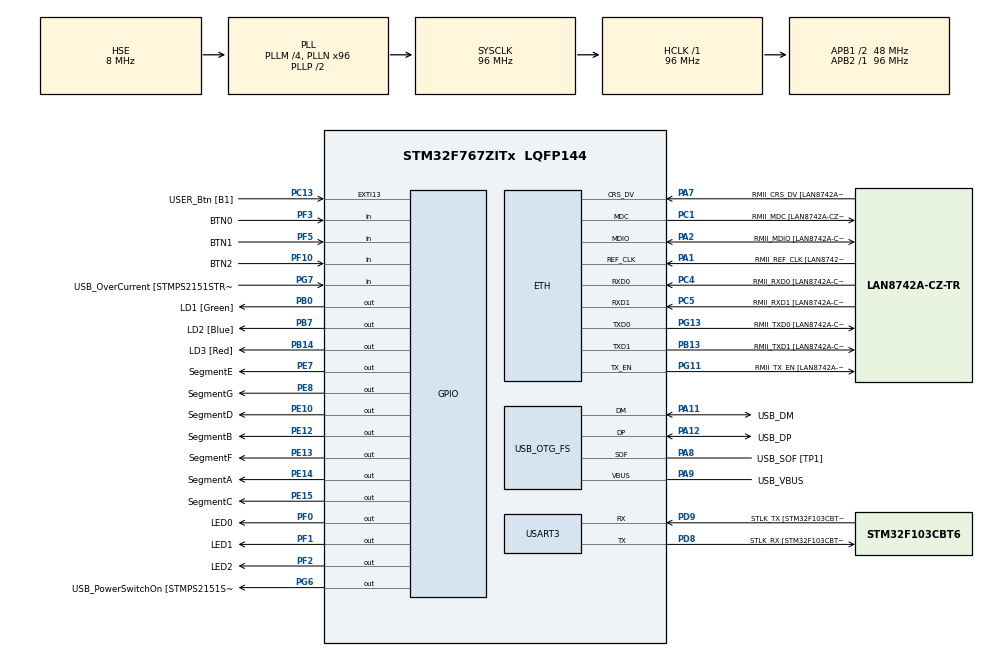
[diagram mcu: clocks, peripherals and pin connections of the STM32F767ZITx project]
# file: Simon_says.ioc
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ETH.MediaInterface=HAL_ETH_RMII_MODE
ETH.PHY_Name=LAN8742A_PHY_ADDRESS
ETH.PHY_Value=0
ETH.PhyAddress=0
Mcu.Family=STM32F7
Mcu.Name=STM32F767ZITx
Mcu.Package=LQFP144
NVIC.PriorityGroup=NVIC_PRIORITYGROUP_4
PA1.GPIO_Label=RMII_REF_CLK [LAN8742A-CZ-TR_REFCLK0]
PA1.Mode=RMII
PA1.Signal=ETH_REF_CLK
PA10.GPIO_Label=USB_ID
PA10.Signal=USB_OTG_FS_ID
PA11.GPIO_Label=USB_DM
PA11.Mode=Device_Only
PA11.Signal=USB_OTG_FS_DM
PA12.GPIO_Label=USB_DP
PA12.Mode=Device_Only
PA12.Signal=USB_OTG_FS_DP
PA13.GPIO_Label=TMS
PA13.Mode=Serial_Wire
PA13.Signal=SYS_JTMS-SWDIO
PA14.GPIO_Label=TCK
PA14.Mode=Serial_Wire
PA14.Signal=SYS_JTCK-SWCLK
PA2.GPIO_Label=RMII_MDIO [LAN8742A-CZ-TR_MDIO]
PA2.Mode=RMII
PA2.Signal=ETH_MDIO
PA7.GPIO_Label=RMII_CRS_DV [LAN8742A-CZ-TR_CRS_DV]
PA7.Mode=RMII
PA7.Signal=ETH_CRS_DV
PA8.GPIO_Label=USB_SOF [TP1]
PA8.Mode=Activate_SOF_FS
PA8.Signal=USB_OTG_FS_SOF
PA9.GPIO_Label=USB_VBUS
PA9.Mode=Activate_VBUS
PA9.Signal=USB_OTG_FS_VBUS
PB0.GPIO_Label=LD1 [Green]
PB0.Signal=GPIO_Output
PB13.GPIO_Label=RMII_TXD1 [LAN8742A-CZ-TR_TXD1]
PB13.Mode=RMII
PB13.Signal=ETH_TXD1
PB14.GPIO_Label=LD3 [Red]
PB14.Signal=GPIO_Output
PB3.GPIO_Label=SWO
PB3.Signal=SYS_JTDO-SWO
PB7.GPIO_Label=LD2 [Blue]
PB7.Signal=GPIO_Output
PC1.GPIO_Label=RMII_MDC [LAN8742A-CZ-TR_MDC]
PC1.Mode=RMII
PC1.Signal=ETH_MDC
PC13.GPIO_Label=USER_Btn [B1]
PC13.Signal=GPXTI13
PC14/OSC32_IN.Mode=LSE-External-Oscillator
PC14/OSC32_IN.Signal=RCC_OSC32_IN
PC15/OSC32_OUT.Mode=LSE-External-Oscillator
PC15/OSC32_OUT.Signal=RCC_OSC32_OUT
PC4.GPIO_Label=RMII_RXD0 [LAN8742A-CZ-TR_RXD0]
PC4.Mode=RMII
PC4.Signal=ETH_RXD0
PC5.GPIO_Label=RMII_RXD1 [LAN8742A-CZ-TR_RXD1]
PC5.Mode=RMII
PC5.Signal=ETH_RXD1
PD8.GPIO_Label=STLK_RX [STM32F103CBT6_PA3]
PD8.Mode=Asynchronous
PD8.Signal=USART3_TX
PD9.GPIO_Label=STLK_TX [STM32F103CBT6_PA2]
PD9.Mode=Asynchronous
PD9.Signal=USART3_RX
PE10.GPIO_Label=SegmentD
PE10.Signal=GPIO_Output
PE12.GPIO_Label=SegmentB
PE12.Signal=GPIO_Output
PE13.GPIO_Label=SegmentF
PE13.Signal=GPIO_Output
PE14.GPIO_Label=SegmentA
PE14.Signal=GPIO_Output
PE15.GPIO_Label=SegmentC
PE15.Signal=GPIO_Output
PE7.GPIO_Label=SegmentE
PE7.Signal=GPIO_Output
PE8.GPIO_Label=SegmentG
PE8.Signal=GPIO_Output
PF0.GPIO_Label=LED0
PF0.Signal=GPIO_Output
PF1.GPIO_Label=LED1
PF1.Signal=GPIO_Output
PF10.GPIO_Label=BTN2
PF10.GPIO_PuPd=GPIO_PULLDOWN
PF10.Signal=GPIO_Input
PF2.GPIO_Label=LED2
PF2.Signal=GPIO_Output
PF3.GPIO_Label=BTN0
PF3.GPIO_PuPd=GPIO_PULLDOWN
PF3.Signal=GPIO_Input
PF5.GPIO_Label=BTN1
PF5.GPIO_PuPd=GPIO_PULLDOWN
PF5.Signal=GPIO_Input
PG11.GPIO_Label=RMII_TX_EN [LAN8742A-CZ-TR_TXEN]
PG11.Mode=RMII
PG11.Signal=ETH_TX_EN
PG13.GPIO_Label=RMII_TXD0 [LAN8742A-CZ-TR_TXD0]
PG13.Mode=RMII
PG13.Signal=ETH_TXD0
PG6.GPIO_Label=USB_PowerSwitchOn [STMPS2151STR_EN]
PG6.Signal=GPIO_Output
PG7.GPIO_Label=USB_OverCurrent [STMPS2151STR_FAULT]
PG7.Signal=GPIO_Input
PH0/OSC_IN.GPIO_Label=MCO [STM32F103CBT6_PA8]
PH0/OSC_IN.Mode=HSE-External-Clock-Source
PH0/OSC_IN.Signal=RCC_OSC_IN
PH1/OSC_OUT.Mode=HSE-External-Clock-Source
PH1/OSC_OUT.Signal=RCC_OSC_OUT
ProjectManager.HeapSize=0x200
ProjectManager.StackSize=0x400
ProjectManager.TargetToolchain=STM32CubeIDE
RCC.48MHZClocksFreq_Value=24000000
RCC.AHBFreq_Value=96000000
RCC.APB1CLKDivider=RCC_HCLK_DIV2
RCC.APB1Freq_Value=48000000
RCC.APB1TimFreq_Value=96000000
RCC.APB2Freq_Value=96000000
RCC.APB2TimFreq_Value=96000000
RCC.CortexFreq_Value=96000000
RCC.HCLKFreq_Value=96000000
RCC.HSE_VALUE=8000000
RCC.HSI_VALUE=16000000
RCC.PLLM=4
RCC.PLLMUL=RCC_PLL_MUL9
RCC.PLLN=96
RCC.PLLQ=4
RCC.PRESCALERUSB=RCC_USBCLKSOURCE_PLL_DIV1_5
RCC.SYSCLKFreq_VALUE=96000000
RCC.SYSCLKSource=RCC_SYSCLKSOURCE_PLLCLK
RCC.SYSCLKSourceVirtual=RCC_SYSCLKSOURCE_PLLCLK
RCC.USBFreq_Value=48000000
RCC.VCOOutputFreq_Value=192000000
USART3.VirtualMode-Asynchronous=VM_ASYNC
USB_OTG_FS.VirtualMode=Device_Only
board=NUCLEO-F767ZI

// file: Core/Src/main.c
/* USER CODE BEGIN Header */
/**
 ******************************************************************************
 * @file           : main.c
 * @brief          : Main program body
 ******************************************************************************
 * @attention
 *
 * Copyright (c) 2023 STMicroelectronics.
 * All rights reserved.
 *
 * This software is licensed under terms that can be found in the LICENSE file
 * in the root directory of this software component.
 * If no LICENSE file comes with this software, it is provided AS-IS.
 *
 ******************************************************************************
 */
/* USER CODE END Header */
#include "main.h"
#include "string.h"
#include "simon_says.h"
#include "LED_Feedback.h"
#include "game_control.h"
#include "generate_random_numbers.h"
#include "seven_segment_display.h"

#if defined ( __ICCARM__ ) /*!< IAR Compiler */
#pragma location=0x2007c000
ETH_DMADescTypeDef  DMARxDscrTab[ETH_RX_DESC_CNT]; /* Ethernet Rx DMA Descriptors */
#pragma location=0x2007c0a0
ETH_DMADescTypeDef  DMATxDscrTab[ETH_TX_DESC_CNT]; /* Ethernet Tx DMA Descriptors */

#elif defined ( __CC_ARM )  /* MDK ARM Compiler */

__attribute__((at(0x2007c000))) ETH_DMADescTypeDef  DMARxDscrTab[ETH_RX_DESC_CNT]; /* Ethernet Rx DMA Descriptors */
__attribute__((at(0x2007c0a0))) ETH_DMADescTypeDef  DMATxDscrTab[ETH_TX_DESC_CNT]; /* Ethernet Tx DMA Descriptors */

#elif defined ( __GNUC__ ) /* GNU Compiler */
ETH_DMADescTypeDef DMARxDscrTab[ETH_RX_DESC_CNT] __attribute__((section(".RxDecripSection"))); /* Ethernet Rx DMA Descriptors */
ETH_DMADescTypeDef DMATxDscrTab[ETH_TX_DESC_CNT] __attribute__((section(".TxDecripSection"))); /* Ethernet Tx DMA Descriptors */

#endif

ETH_TxPacketConfig TxConfig;

ETH_HandleTypeDef heth;

UART_HandleTypeDef huart3;

PCD_HandleTypeDef hpcd_USB_OTG_FS;

void SystemClock_Config(void);
static void MX_GPIO_Init(void);
static void MX_ETH_Init(void);
static void MX_USART3_UART_Init(void);
static void MX_USB_OTG_FS_PCD_Init(void);

int main(void)
{

	/* MCU Configuration--------------------------------------------------------*/

	/* Reset of all peripherals, Initializes the Flash interface and the Systick. */
	HAL_Init();

	/* Configure the system clock */
	SystemClock_Config();

	/* Initialize all configured peripherals */
	MX_GPIO_Init();
	MX_ETH_Init();
	MX_USART3_UART_Init();
	MX_USB_OTG_FS_PCD_Init();
	/* USER CODE BEGIN 2 */

	sLED_t psLED[] = {
		{ .LED_Port = LED0_GPIO_Port, .u16LED_PIN = LED0_Pin },
		{ .LED_Port = LED1_GPIO_Port, .u16LED_PIN = LED1_Pin },
		{ .LED_Port = LED2_GPIO_Port, .u16LED_PIN = LED2_Pin },
	};

	sButton_t psButtons[] = {
		{ .BTN_Port = BTN0_GPIO_Port, .u16BTN_PIN = BTN0_Pin, .debounce = 0 },
		{ .BTN_Port = BTN1_GPIO_Port, .u16BTN_PIN = BTN1_Pin, .debounce = 0 },
		{ .BTN_Port = BTN2_GPIO_Port, .u16BTN_PIN = BTN2_Pin, .debounce = 0 },
	};

	sGameData_t sGame;
	vSimonSays_Init(&sGame);

	uint8_t u8UserInput;
	uint8_t u8UserInputCount;

	/* USER CODE END 2 */

	/* Infinite loop */
	/* USER CODE BEGIN WHILE */
	while (1)
	{
		//If game over or already victory then restart game
		if (sGame.eCurrentState != INGAME)
		{
			vSimonSays_Init(&sGame);
			//Signal start
			s8Segment_SetDisplay(sGame.u8Round);
		}

		HAL_Delay(800);
		//Show round
		sGame.u8Round++;
		s8Segment_SetDisplay(sGame.u8Round);

		//Generate and show Sequence
		sGame.u8RandomNumbers[sGame.u8Round - 1] = u8GenerateRandomNumber();
		vLEDFeedback_ShowGeneratedNumbers(psLED, sGame.u8RandomNumbers, sGame.u8Round);

		//Read UserInput an compare Sequence with UserInput
		u8UserInputCount = 0;
		do
		{
			u8UserInput = u8GameControl_GetUserInput(psButtons, &vLEDFeedback_ShowLED);

			if (u8UserInput != sGame.u8RandomNumbers[u8UserInputCount])
			{
				sGame.eCurrentState = GAME_OVER;
				vLEDFeedback_ShowGameOver();
				break;
			}

			u8UserInputCount++;

		} while (u8UserInputCount < sGame.u8Round);

		if (u8UserInputCount == MAX_ROUNDS && sGame.eCurrentState != GAME_OVER)
		{
			sGame.eCurrentState = GAME_WON;
			vLEDFeedback_ShowVictory();
		}

		/* USER CODE END WHILE */

	}
}

void SystemClock_Config(void)
{
	RCC_OscInitTypeDef RCC_OscInitStruct =
	{ 0 };
	RCC_ClkInitTypeDef RCC_ClkInitStruct =
	{ 0 };

	/** Configure LSE Drive Capability
	 */
	HAL_PWR_EnableBkUpAccess();

	/** Configure the main internal regulator output voltage
	 */
	__HAL_RCC_PWR_CLK_ENABLE();
	__HAL_PWR_VOLTAGESCALING_CONFIG(PWR_REGULATOR_VOLTAGE_SCALE3);

	/** Initializes the RCC Oscillators according to the specified parameters
	 * in the RCC_OscInitTypeDef structure.
	 */
	RCC_OscInitStruct.OscillatorType = RCC_OSCILLATORTYPE_HSE;
	RCC_OscInitStruct.HSEState = RCC_HSE_BYPASS;
	RCC_OscInitStruct.PLL.PLLState = RCC_PLL_ON;
	RCC_OscInitStruct.PLL.PLLSource = RCC_PLLSOURCE_HSE;
	RCC_OscInitStruct.PLL.PLLM = 4;
	RCC_OscInitStruct.PLL.PLLN = 96;
	RCC_OscInitStruct.PLL.PLLP = RCC_PLLP_DIV2;
	RCC_OscInitStruct.PLL.PLLQ = 4;
	RCC_OscInitStruct.PLL.PLLR = 2;
	if (HAL_RCC_OscConfig(&RCC_OscInitStruct) != HAL_OK)
	{
		Error_Handler();
	}

	/** Activate the Over-Drive mode
	 */
	if (HAL_PWREx_EnableOverDrive() != HAL_OK)
	{
		Error_Handler();
	}

	/** Initializes the CPU, AHB and APB buses clocks
	 */
	RCC_ClkInitStruct.ClockType = RCC_CLOCKTYPE_HCLK | RCC_CLOCKTYPE_SYSCLK
			| RCC_CLOCKTYPE_PCLK1 | RCC_CLOCKTYPE_PCLK2;
	RCC_ClkInitStruct.SYSCLKSource = RCC_SYSCLKSOURCE_PLLCLK;
	RCC_ClkInitStruct.AHBCLKDivider = RCC_SYSCLK_DIV1;
	RCC_ClkInitStruct.APB1CLKDivider = RCC_HCLK_DIV2;
	RCC_ClkInitStruct.APB2CLKDivider = RCC_HCLK_DIV1;

	if (HAL_RCC_ClockConfig(&RCC_ClkInitStruct, FLASH_LATENCY_3) != HAL_OK)
	{
		Error_Handler();
	}
}

static void MX_ETH_Init(void)
{

	static uint8_t MACAddr[6];

	heth.Instance = ETH;
	MACAddr[0] = 0x00;
	MACAddr[1] = 0x80;
	MACAddr[2] = 0xE1;
	MACAddr[3] = 0x00;
	MACAddr[4] = 0x00;
	MACAddr[5] = 0x00;
	heth.Init.MACAddr = &MACAddr[0];
	heth.Init.MediaInterface = HAL_ETH_RMII_MODE;
	heth.Init.TxDesc = DMATxDscrTab;
	heth.Init.RxDesc = DMARxDscrTab;
	heth.Init.RxBuffLen = 1524;

	if (HAL_ETH_Init(&heth) != HAL_OK)
	{
		Error_Handler();
	}

	memset(&TxConfig, 0, sizeof(ETH_TxPacketConfig));
	TxConfig.Attributes = ETH_TX_PACKETS_FEATURES_CSUM
			| ETH_TX_PACKETS_FEATURES_CRCPAD;
	TxConfig.ChecksumCtrl = ETH_CHECKSUM_IPHDR_PAYLOAD_INSERT_PHDR_CALC;
	TxConfig.CRCPadCtrl = ETH_CRC_PAD_INSERT;

}

static void MX_USART3_UART_Init(void)
{

	huart3.Instance = USART3;
	huart3.Init.BaudRate = 115200;
	huart3.Init.WordLength = UART_WORDLENGTH_8B;
	huart3.Init.StopBits = UART_STOPBITS_1;
	huart3.Init.Parity = UART_PARITY_NONE;
	huart3.Init.Mode = UART_MODE_TX_RX;
	huart3.Init.HwFlowCtl = UART_HWCONTROL_NONE;
	huart3.Init.OverSampling = UART_OVERSAMPLING_16;
	huart3.Init.OneBitSampling = UART_ONE_BIT_SAMPLE_DISABLE;
	huart3.AdvancedInit.AdvFeatureInit = UART_ADVFEATURE_NO_INIT;
	if (HAL_UART_Init(&huart3) != HAL_OK)
	{
		Error_Handler();
	}

}

static void MX_USB_OTG_FS_PCD_Init(void)
{

	hpcd_USB_OTG_FS.Instance = USB_OTG_FS;
	hpcd_USB_OTG_FS.Init.dev_endpoints = 6;
	hpcd_USB_OTG_FS.Init.speed = PCD_SPEED_FULL;
	hpcd_USB_OTG_FS.Init.dma_enable = DISABLE;
	hpcd_USB_OTG_FS.Init.phy_itface = PCD_PHY_EMBEDDED;
	hpcd_USB_OTG_FS.Init.Sof_enable = ENABLE;
	hpcd_USB_OTG_FS.Init.low_power_enable = DISABLE;
	hpcd_USB_OTG_FS.Init.lpm_enable = DISABLE;
	hpcd_USB_OTG_FS.Init.vbus_sensing_enable = ENABLE;
	hpcd_USB_OTG_FS.Init.use_dedicated_ep1 = DISABLE;
	if (HAL_PCD_Init(&hpcd_USB_OTG_FS) != HAL_OK)
	{
		Error_Handler();
	}

}

static void MX_GPIO_Init(void)
{
	GPIO_InitTypeDef GPIO_InitStruct =
	{ 0 };

	/* GPIO Ports Clock Enable */
	__HAL_RCC_GPIOC_CLK_ENABLE();
	__HAL_RCC_GPIOF_CLK_ENABLE();
	__HAL_RCC_GPIOH_CLK_ENABLE();
	__HAL_RCC_GPIOA_CLK_ENABLE();
	__HAL_RCC_GPIOB_CLK_ENABLE();
	__HAL_RCC_GPIOE_CLK_ENABLE();
	__HAL_RCC_GPIOD_CLK_ENABLE();
	__HAL_RCC_GPIOG_CLK_ENABLE();

	/*Configure GPIO pin Output Level */
	HAL_GPIO_WritePin(GPIOF, LED0_Pin | LED1_Pin | LED2_Pin, GPIO_PIN_RESET);

	/*Configure GPIO pin Output Level */
	HAL_GPIO_WritePin(GPIOB, LD1_Pin | LD3_Pin | LD2_Pin, GPIO_PIN_RESET);

	/*Configure GPIO pin Output Level */
	HAL_GPIO_WritePin(GPIOE,
			SegmentE_Pin | SegmentG_Pin | SegmentD_Pin | SegmentB_Pin
					| SegmentF_Pin | SegmentA_Pin | SegmentC_Pin,
			GPIO_PIN_RESET);

	/*Configure GPIO pin Output Level */
	HAL_GPIO_WritePin(USB_PowerSwitchOn_GPIO_Port, USB_PowerSwitchOn_Pin,
			GPIO_PIN_RESET);

	/*Configure GPIO pin : USER_Btn_Pin */
	GPIO_InitStruct.Pin = USER_Btn_Pin;
	GPIO_InitStruct.Mode = GPIO_MODE_IT_RISING;
	GPIO_InitStruct.Pull = GPIO_NOPULL;
	HAL_GPIO_Init(USER_Btn_GPIO_Port, &GPIO_InitStruct);

	/*Configure GPIO pins : LED0_Pin LED1_Pin LED2_Pin */
	GPIO_InitStruct.Pin = LED0_Pin | LED1_Pin | LED2_Pin;
	GPIO_InitStruct.Mode = GPIO_MODE_OUTPUT_PP;
	GPIO_InitStruct.Pull = GPIO_NOPULL;
	GPIO_InitStruct.Speed = GPIO_SPEED_FREQ_LOW;
	HAL_GPIO_Init(GPIOF, &GPIO_InitStruct);

	/*Configure GPIO pins : BTN0_Pin BTN1_Pin BTN2_Pin */
	GPIO_InitStruct.Pin = BTN0_Pin | BTN1_Pin | BTN2_Pin;
	GPIO_InitStruct.Mode = GPIO_MODE_INPUT;
	GPIO_InitStruct.Pull = GPIO_PULLDOWN;
	HAL_GPIO_Init(GPIOF, &GPIO_InitStruct);

	/*Configure GPIO pins : LD1_Pin LD3_Pin LD2_Pin */
	GPIO_InitStruct.Pin = LD1_Pin | LD3_Pin | LD2_Pin;
	GPIO_InitStruct.Mode = GPIO_MODE_OUTPUT_PP;
	GPIO_InitStruct.Pull = GPIO_NOPULL;
	GPIO_InitStruct.Speed = GPIO_SPEED_FREQ_LOW;
	HAL_GPIO_Init(GPIOB, &GPIO_InitStruct);

	/*Configure GPIO pins : SegmentE_Pin SegmentG_Pin SegmentD_Pin SegmentB_Pin
	 SegmentF_Pin SegmentA_Pin SegmentC_Pin */
	GPIO_InitStruct.Pin = SegmentE_Pin | SegmentG_Pin | SegmentD_Pin
			| SegmentB_Pin | SegmentF_Pin | SegmentA_Pin | SegmentC_Pin;
	GPIO_InitStruct.Mode = GPIO_MODE_OUTPUT_PP;
	GPIO_InitStruct.Pull = GPIO_NOPULL;
	GPIO_InitStruct.Speed = GPIO_SPEED_FREQ_LOW;
	HAL_GPIO_Init(GPIOE, &GPIO_InitStruct);

	/*Configure GPIO pin : USB_PowerSwitchOn_Pin */
	GPIO_InitStruct.Pin = USB_PowerSwitchOn_Pin;
	GPIO_InitStruct.Mode = GPIO_MODE_OUTPUT_PP;
	GPIO_InitStruct.Pull = GPIO_NOPULL;
	GPIO_InitStruct.Speed = GPIO_SPEED_FREQ_LOW;
	HAL_GPIO_Init(USB_PowerSwitchOn_GPIO_Port, &GPIO_InitStruct);

	/*Configure GPIO pin : USB_OverCurrent_Pin */
	GPIO_InitStruct.Pin = USB_OverCurrent_Pin;
	GPIO_InitStruct.Mode = GPIO_MODE_INPUT;
	GPIO_InitStruct.Pull = GPIO_NOPULL;
	HAL_GPIO_Init(USB_OverCurrent_GPIO_Port, &GPIO_InitStruct);

}

void Error_Handler(void)
{
	/* USER CODE BEGIN Error_Handler_Debug */
	/* User can add his own implementation to report the HAL error return state */
	__disable_irq();
	while (1)
	{
		HAL_GPIO_WritePin(LED0_GPIO_Port, LED0_Pin, GPIO_PIN_SET);
		HAL_GPIO_WritePin(LED1_GPIO_Port, LED1_Pin, GPIO_PIN_SET);
		HAL_GPIO_WritePin(LED2_GPIO_Port, LED2_Pin, GPIO_PIN_SET);
	}
	/* USER CODE END Error_Handler_Debug */
}
